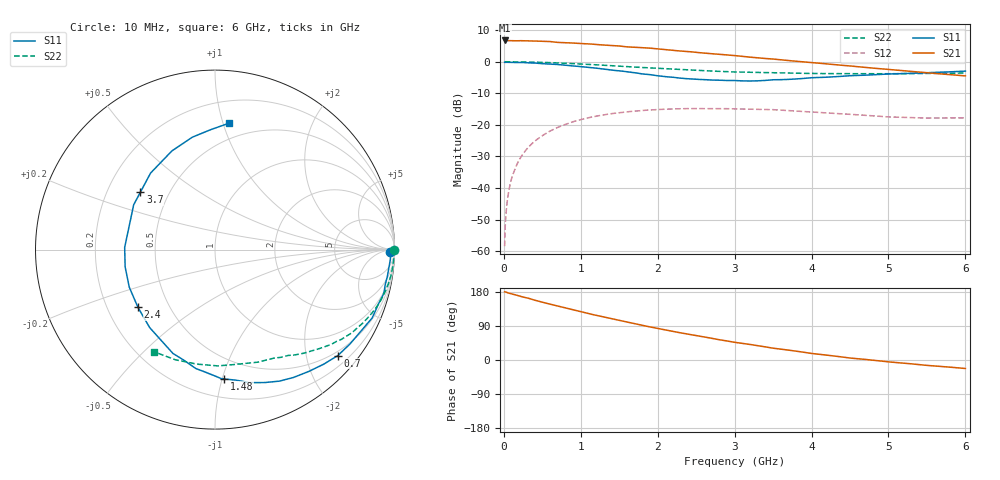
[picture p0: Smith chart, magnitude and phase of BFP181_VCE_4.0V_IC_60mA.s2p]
! Infineon Technologies  Discrete & RF Semiconductors
! BFP181
! VCE = 4.0 V,  IC =  60 mA
! Common Emitter S-Parameters:  Jan 2016
# GHz  S  MA  R  50
!  f  S11  S21  S12  S22
! GHz  MAG  ANG  MAG  ANG  MAG  ANG  MAG  ANG
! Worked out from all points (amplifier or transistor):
!   210 points, 10 MHz to 6 GHz, reference 50 ohm
!   highest |S21| = 6.7 dB at 10 MHz (marker M1)
!   |S21| within 3 dB of that: start of sweep to 2.128 GHz
!   unconditionally stable (mu >= 1): 3.601 GHz to end of sweep
!   at 185 MHz: K = 0.07, MSG = 19.2 dB, |S12| = -31.8 dB
!   at 1.52 GHz: K = 0.46, MSG = 10.5 dB, |S12| = -16.1 dB
!   at 6 GHz: K = 1.38, MAG = 3.0 dB, |S12| = -17.8 dB
!   S11 on the Smith chart (normalised r, x): 10 MHz: 64, -40; 700 MHz: 0.41, -2.63; 1.48 GHz: 0.34, -1.02; 2.4 GHz: 0.33, -0.30; 3.7 GHz: 0.34, +0.30; 6 GHz: 0.37, +1.05
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0.01  0.9777 -0.8  2.169 179.8  0.0012 79.8  0.999 -0.2
0.015  0.977 -1.0  2.158 179.8  0.002 85.1  0.9988 -0.4
0.025  0.9768 -1.5  2.148 179.3  0.0035 88.6  0.9985 -0.7
0.055  0.9788 -3.1  2.155 177.1  0.0077 90.0  0.9977 -1.5
0.1  0.9746 -6.0  2.15 174.5  0.014 84.4  0.9972 -2.8
0.165  0.9707 -9.6  2.143 171.0  0.023 82.8  0.9955 -4.6
0.26  0.9699 -15.2  2.143 165.8  0.0361 79.4  0.9914 -7.4
0.38  0.9554 -22.3  2.126 159.1  0.0523 74.7  0.9857 -10.7
0.6  0.9176 -35.0  2.085 147.4  0.0797 65.6  0.9677 -16.6
0.7  0.9037 -40.8  2.02 142.2  0.0911 61.7  0.9564 -19.3
1.02  0.8312 -59.6  1.935 126.3  0.1227 49.7  0.9163 -27.0
1.1  0.8156 -64.0  1.921 122.3  0.1297 46.9  0.9051 -28.8
1.48  0.7225 -85.9  1.778 105.3  0.1545 34.7  0.8513 -36.8
1.8  0.6402 -105.7  1.668 91.1  0.1691 26.3  0.8095 -42.4
2.02  0.5943 -118.9  1.586 82.3  0.1753 20.7  0.7814 -46.1
2.4  0.5364 -143.2  1.448 67.9  0.1809 11.8  0.7392 -52.5
2.8  0.5099 -169.1  1.312 53.5  0.1814 4.3  0.7043 -58.4
3.1  0.4968 173.1  1.214 43.9  0.178 -0.9  0.6835 -63.0
3.7  0.5247 142.3  1.042 26.1  0.1682 -8.4  0.661 -72.9
4.1  0.5619 126.6  0.946 15.1  0.1573 -12.1  0.6492 -80.5
5.1  0.6434 99.5  0.735 -6.6  0.1325 -14.0  0.6455 -101.3
6  0.709 83.6  0.596 -22.4  0.1291 -7.4  0.6631 -120.9
